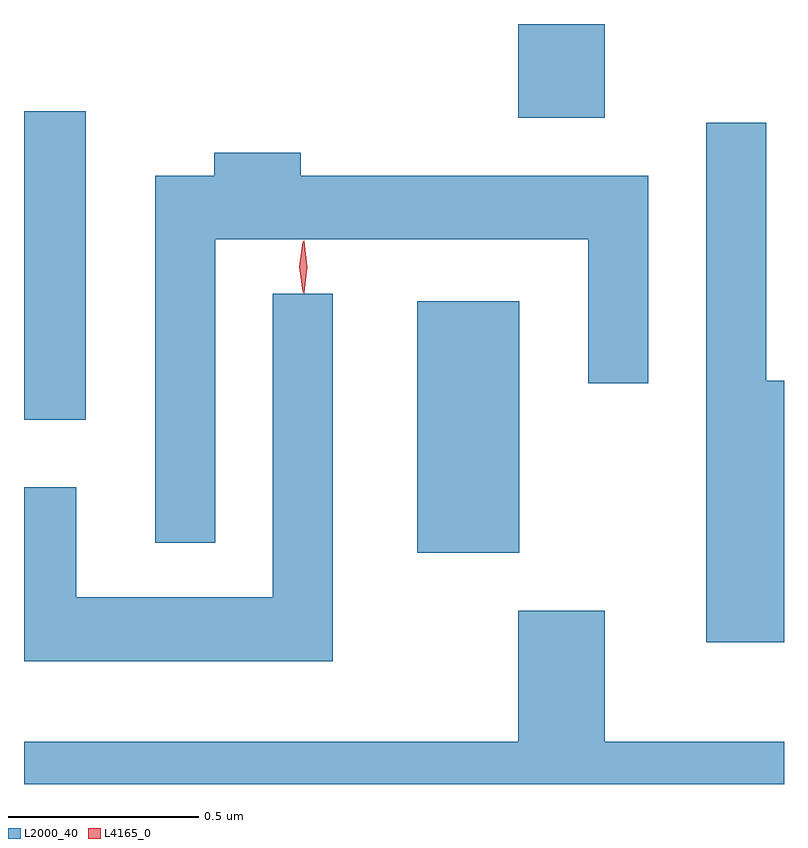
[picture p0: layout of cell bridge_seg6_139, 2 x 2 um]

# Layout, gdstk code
import gdstk
lib = gdstk.Library(unit=1e-6, precision=1e-09)
def R(c, l, rs):  # rectangles x0, y0, x1, y1
    for r in rs: c.add(gdstk.rectangle(r[:2], r[2:], *l))
def P(c, l, *ps):  # polygons
    for p in ps: c.add(gdstk.Polygon(p, *l))
L2000_40 = (2000, 40)
L4165_0 = (4165, 0)

bridge_seg6_139 = lib.new_cell('bridge_seg6_139')
R(bridge_seg6_139, L2000_40, [(1208.336,1617.401,1208.604,1618.064), (1207.301,1617.751,1207.464,1618.564), (1208.601,1618.546,1208.829,1618.793)])
P(bridge_seg6_139, L2000_40, [(1209.301,1617.854),(1209.254,1617.854),(1209.254,1618.533),(1209.096,1618.533),(1209.096,1617.166),(1209.301,1617.166)],
  [(1207.804,1618.226),(1208.786,1618.226),(1208.786,1617.848),(1208.944,1617.848),(1208.944,1618.394),(1208.029,1618.394),(1208.029,1618.454),(1207.801,1618.454),(1207.801,1618.394),(1207.646,1618.394),(1207.646,1617.428),(1207.804,1617.428)],
  [(1208.114,1618.083),(1207.956,1618.083),(1207.956,1617.284),(1207.439,1617.284),(1207.439,1617.574),(1207.301,1617.574),(1207.301,1617.116),(1208.114,1617.116)],
  [(1209.301,1616.904),(1208.829,1616.904),(1208.829,1617.249),(1208.601,1617.249),(1208.601,1616.904),(1207.301,1616.904),(1207.301,1616.793),(1209.301,1616.793)])
P(bridge_seg6_139, L4165_0, [(1208.037,1618.083),(1208.037,1618.084),(1208.027,1618.153),(1208.037,1618.222),(1208.037,1618.223),(1208.038,1618.222),(1208.047,1618.153),(1208.038,1618.084)],
  [(1208.035,1618.087),(1208.034,1618.088),(1208.025,1618.154),(1208.034,1618.22),(1208.035,1618.221),(1208.035,1618.22),(1208.045,1618.154),(1208.035,1618.088)])

lib.write_gds('bridge_seg6_139.gds')
